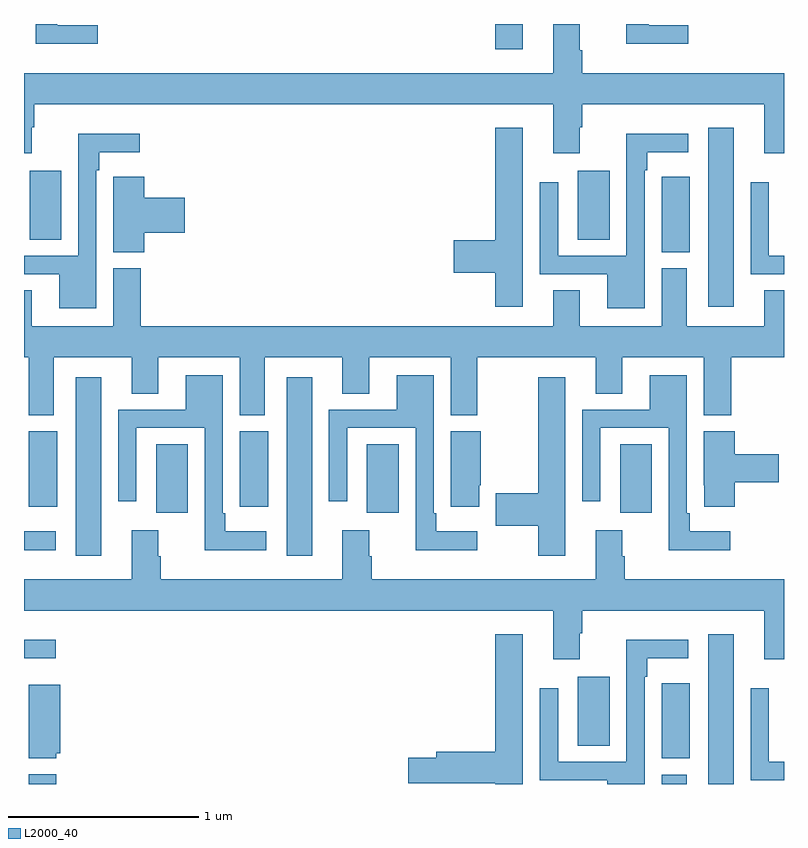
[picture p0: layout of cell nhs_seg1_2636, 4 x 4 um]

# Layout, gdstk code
import gdstk
lib = gdstk.Library(unit=1e-6, precision=1e-09)
def R(c, l, rs):  # rectangles x0, y0, x1, y1
    for r in rs: c.add(gdstk.rectangle(r[:2], r[2:], *l))
def P(c, l, *ps):  # polygons
    for p in ps: c.add(gdstk.Polygon(p, *l))
L2000_40 = (2000, 40)

nhs_seg1_2636 = lib.new_cell('nhs_seg1_2636')
R(nhs_seg1_2636, L2000_40, [(255.026,504.199,255.17,504.25), (258.356,504.199,258.487,504.249), (258.602,504.199,258.736,504.988), (258.356,504.334,258.505,504.73), (257.915,504.4,258.082,504.763), (255,504.86,255.166,504.958), (255.272,505.401,255.406,506.341), (256.382,505.401,256.516,506.341), (255,505.43,255.166,505.528), (255.695,505.626,255.862,505.988), (256.805,505.626,256.972,505.988), (258.137,505.626,258.304,505.988), (255.026,505.659,255.175,506.055), (256.136,505.659,256.285,506.055), (258.602,506.712,258.736,507.652), (258.356,506.998,258.505,507.394), (255.029,507.064,255.196,507.427), (257.915,507.064,258.082,507.427), (257.48,508.065,257.626,508.199)])
P(nhs_seg1_2636, L2000_40, [(258.496,508.192),(258.287,508.192),(258.287,508.199),(258.171,508.199),(258.171,508.094),(258.496,508.094)],
  [(255.388,508.192),(255.175,508.192),(255.175,508.199),(255.063,508.199),(255.063,508.094),(255.388,508.094)],
  [(255.04,507.656),(255.053,507.656),(255.053,507.776),(257.786,507.776),(257.786,507.519),(257.926,507.519),(257.926,507.656),(257.939,507.656),(257.939,507.776),(258.896,507.776),(258.896,507.519),(259,507.519),(259,507.94),(257.939,507.94),(257.939,508.061),(257.926,508.061),(257.926,508.198),(257.786,508.198),(257.786,507.94),(255,507.94),(255,507.519),(255.04,507.519)],
  [(257.626,507.652),(257.48,507.652),(257.48,507.062),(257.262,507.062),(257.262,506.891),(257.48,506.891),(257.48,506.712),(257.626,506.712)],
  [(255.381,507.428),(255.397,507.428),(255.397,507.524),(255.61,507.524),(255.61,507.622),(255.285,507.622),(255.285,506.979),(255,506.979),(255,506.883),(255.185,506.883),(255.185,506.702),(255.381,506.702)],
  [(258.267,507.428),(258.279,507.428),(258.279,507.524),(258.496,507.524),(258.496,507.622),(258.171,507.622),(258.171,506.979),(257.811,506.979),(257.811,507.367),(257.715,507.367),(257.715,506.883),(258.071,506.883),(258.071,506.702),(258.267,506.702)],
  [(255.632,507.101),(255.847,507.101),(255.847,507.284),(255.632,507.284),(255.632,507.394),(255.471,507.394),(255.471,507.281),(255.47,507.281),(255.47,506.998),(255.632,506.998)],
  [(259,506.979),(258.921,506.979),(258.921,507.367),(258.825,507.367),(258.825,506.883),(259,506.883)],
  [(255.614,506.913),(255.47,506.913),(255.47,506.608),(255.04,506.608),(255.04,506.798),(255,506.798),(255,506.444),(255.026,506.444),(255.026,506.14),(255.157,506.14),(255.157,506.444),(255.566,506.444),(255.566,506.254),(255.706,506.254),(255.706,506.444),(256.136,506.444),(256.136,506.14),(256.267,506.14),(256.267,506.444),(256.676,506.444),(256.676,506.254),(256.816,506.254),(256.816,506.444),(257.246,506.444),(257.246,506.14),(257.385,506.14),(257.385,506.444),(258.008,506.444),(258.008,506.254),(258.148,506.254),(258.148,506.444),(258.578,506.444),(258.578,506.14),(258.722,506.14),(258.722,506.444),(259,506.444),(259,506.798),(258.896,506.798),(258.896,506.608),(258.487,506.608),(258.487,506.913),(258.356,506.913),(258.356,506.608),(257.926,506.608),(257.926,506.798),(257.786,506.798),(257.786,506.608),(255.614,506.608)],
  [(257.386,505.528),(257.17,505.528),(257.17,505.624),(257.157,505.624),(257.157,506.35),(256.961,506.35),(256.961,506.169),(256.605,506.169),(256.605,505.686),(256.701,505.686),(256.701,506.073),(257.061,506.073),(257.061,505.43),(257.386,505.43)],
  [(258.718,505.528),(258.505,505.528),(258.505,505.624),(258.489,505.624),(258.489,506.35),(258.293,506.35),(258.293,506.169),(257.937,506.169),(257.937,505.686),(258.033,505.686),(258.033,506.073),(258.393,506.073),(258.393,505.43),(258.718,505.43)],
  [(256.276,505.528),(256.06,505.528),(256.06,505.624),(256.047,505.624),(256.047,506.35),(255.851,506.35),(255.851,506.169),(255.495,506.169),(255.495,505.686),(255.591,505.686),(255.591,506.073),(255.951,506.073),(255.951,505.43),(256.276,505.43)],
  [(257.848,506.341),(257.707,506.341),(257.707,505.73),(257.484,505.73),(257.484,505.559),(257.707,505.559),(257.707,505.401),(257.848,505.401)],
  [(257.395,505.771),(257.403,505.771),(257.403,506.055),(257.246,506.055),(257.246,505.659),(257.395,505.659)],
  [(258.74,505.787),(258.973,505.787),(258.973,505.934),(258.74,505.934),(258.74,506.055),(258.578,506.055),(258.578,505.771),(258.579,505.771),(258.579,505.659),(258.74,505.659)],
  [(257.926,504.992),(257.939,504.992),(257.939,505.112),(258.896,505.112),(258.896,504.855),(259,504.855),(259,505.276),(258.161,505.276),(258.161,505.397),(258.148,505.397),(258.148,505.534),(258.008,505.534),(258.008,505.276),(256.829,505.276),(256.829,505.397),(256.816,505.397),(256.816,505.534),(256.676,505.534),(256.676,505.276),(255.719,505.276),(255.719,505.397),(255.706,505.397),(255.706,505.534),(255.566,505.534),(255.566,505.276),(255,505.276),(255,505.112),(257.786,505.112),(257.786,504.855),(257.926,504.855)],
  [(257.626,504.988),(257.48,504.988),(257.48,504.368),(257.171,504.368),(257.171,504.338),(257.022,504.338),(257.022,504.203),(257.48,504.203),(257.48,504.199),(257.626,504.199)],
  [(258.267,504.764),(258.279,504.764),(258.279,504.86),(258.496,504.86),(258.496,504.958),(258.171,504.958),(258.171,504.315),(257.811,504.315),(257.811,504.703),(257.715,504.703),(257.715,504.219),(258.071,504.219),(258.071,504.199),(258.267,504.199)],
  [(255.171,504.36),(255.19,504.36),(255.19,504.721),(255.026,504.721),(255.026,504.335),(255.171,504.335)],
  [(259,504.315),(258.921,504.315),(258.921,504.703),(258.825,504.703),(258.825,504.219),(259,504.219)])

lib.write_gds('nhs_seg1_2636.gds')
